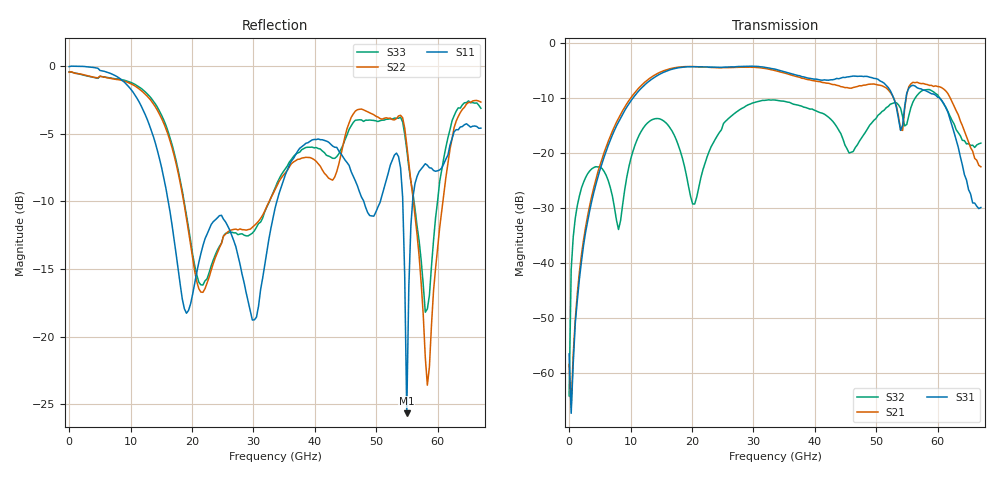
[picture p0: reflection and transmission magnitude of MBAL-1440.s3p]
!Marki	Microwave	Inc.
!Sales	Email:	info@markimicrowave.com
!Support	Email:	support@markimicrowave.com
!Phone:	408-778-4200
!Model	Number:	MBAL-1440CH
!Filename:	MBAL-1440CH.s3p
!Description:	14-40GHz Balun
!Port	1:	Common
!	2:	0°	Output
!	3:	180°	Output
! S3P File: Measurements: Mag<S11> Ang<S11> Mag<S12> Ang<S12> Mag<S13> Ang<S13>! row 1
!  Mag<S21> Ang<S21> Mag<S22> Ang<S22> Mag<S23> Ang<S23>! row 2
!  Mag<S31> Ang<S31> Mag<S32> Ang<S32> Mag<S33> Ang<S33>! row 3
#	Hz	S	dB	R	50
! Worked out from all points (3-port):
!   201 points, 10 MHz to 67 GHz, reference 50 ohm
!   strongest paths, dB at 10 MHz, 16.76 GHz, 33.51 GHz, 50.25 GHz, 67 GHz:
!     S31: -56.5, -4.8, -4.8, -6.6, -29.9
!     S21: -58.4, -4.6, -5.0, -7.6, -22.5
!     S32: -64.1, -16.0, -10.4, -13.2, -18.2
!   lowest |S11| = -25.7 dB at 54.94 GHz (marker M1), VSWR 1.11, Z = 53.1 - j4.36 ohm
!   |S11| at or under -10 dB: 16.14 GHz to 33.81 GHz (17.67 GHz wide, 70.8 % of centre); 47.94 GHz to 50.64 GHz (2.696 GHz wide, 5.47 % of centre); 54.29 GHz to 55.9 GHz (1.608 GHz wide, 2.92 % of centre)
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1e7  -0.03 -0.0  -52.00 -113.2  -54.87 88.2
     -58.39 -14.8  -0.45 -179.4  -66.06 -13.7
     -56.51 161.4  -64.12 133.3  -0.43 -179.4
3.4495e8  -0.00 -3.8  -69.76 -168.1  -87.09 -162.5
          -66.16 137.2  -0.42 173.4  -41.64 96.7
          -67.29 -1.8  -41.21 98.2  -0.44 173.6
3.02455e9  -0.05 -33.2  -31.37 137.0  -32.38 -39.3
           -31.42 137.1  -0.71 126.4  -23.77 35.5
           -32.38 -39.5  -23.76 35.6  -0.74 126.8
9.3886e9  -1.36 -106.1  -11.06 37.7  -11.66 -141.2
          -11.06 37.3  -1.17 5.6  -24.38 53.2
          -11.66 -141.3  -24.40 53.5  -1.10 6.3
1.74274e10  -13.92 120.5  -4.44 -97.7  -4.58 82.9
            -4.46 -97.9  -7.23 -125.6  -17.56 -113.1
            -4.60 83.2  -17.55 -112.7  -7.01 -124.1
3.3505e10  -10.52 -52.2  -5.00 61.4  -4.75 -117.5
           -5.02 61.1  -9.13 -79.6  -10.37 -131.9
           -4.76 -116.8  -10.38 -130.5  -9.03 -73.2
5.326705e10  -6.43 -57.0  -11.39 -173.0  -11.58 12.0
             -11.49 -173.6  -3.88 -159.2  -10.86 114.6
             -11.76 13.4  -10.87 115.1  -3.85 -152.4
5.49418e10  -25.67 -51.8  -9.24 -138.6  -9.09 47.6
            -9.28 -139.5  -5.82 162.7  -15.11 105.3
            -9.13 47.9  -14.80 106.7  -6.17 171.5
5.82913e10  -7.33 -70.4  -7.46 139.8  -8.85 -28.1
            -7.57 139.8  -23.59 51.5  -8.39 27.0
            -8.83 -26.3  -8.48 28.2  -17.95 59.1
6.7e10  -4.58 -113.1  -22.78 -17.5  -28.80 -90.7
        -22.50 -17.5  -2.66 -123.9  -18.21 152.9
        -29.90 -97.8  -18.20 153.3  -3.12 -115.2
